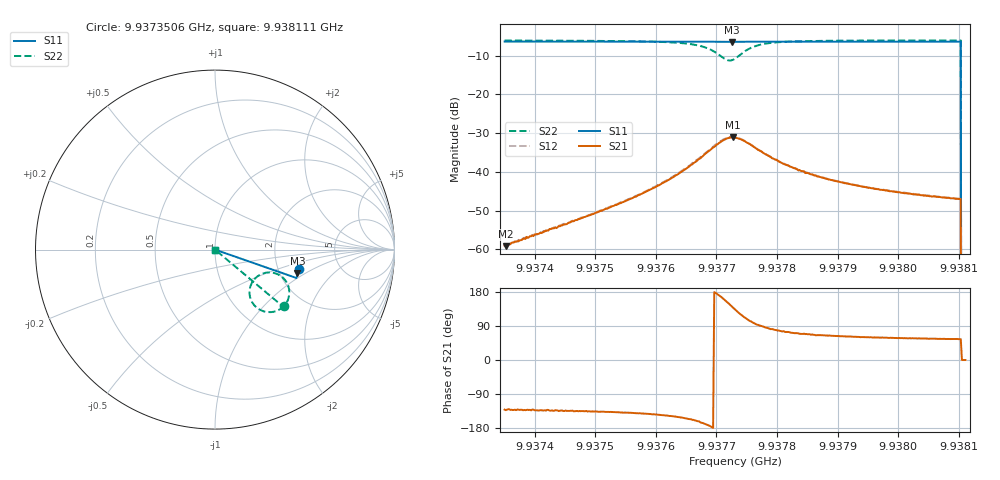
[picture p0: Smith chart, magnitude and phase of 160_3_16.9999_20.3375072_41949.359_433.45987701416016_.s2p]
#  HZ  S  RI  R  50.00
! Rohde & Schwarz Vector Network Analyzer
! Rohde-Schwarz,ZNB20-2Port,1311601062101988,3.16
! Created: UTC 3/20/2024, 10:59:13 PM
! freq[Hz]  re:S11  im:S11  re:S21  im:S21  re:S12  im:S12  re:S22  im:S22
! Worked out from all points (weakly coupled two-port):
!   401 points, 9.9373506 GHz to 9.938111 GHz, reference 50 ohm
!   highest |S21| = -31.09 dB at 9.937727 GHz (marker M1); lowest = -59.2 dB at 9.9373525 GHz (marker M2)
!   lowest |S11| = -6.4 dB at 9.9377251 GHz (marker M3), VSWR 2.83, Z = 124 - j42.9 ohm
!   |S11| at or under -10 dB: 9.9381034 GHz to end of sweep
!   |S22| runs from - to -6.0 dB; largest |S21 - S12| = 0.0012
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9.93735059e9  0.4706 -0.1097  -0.000733 -0.000844  -0.000766 -0.000854  0.3854 -0.3142
9.93735249e9  0.4706 -0.1099  -0.000742 -0.000813  -0.000754 -0.000831  0.3851 -0.3144
9.93747796e9  0.468 -0.1182  -0.00179 -0.00181  -0.00185 -0.00179  0.3698 -0.327
9.93755589e9  0.4661 -0.1237  -0.00334 -0.00289  -0.00344 -0.00287  0.3524 -0.3373
9.93760532e9  0.4648 -0.1271  -0.00548 -0.0039  -0.00566 -0.00393  0.3314 -0.3451
9.93764714e9  0.4634 -0.1299  -0.00949 -0.00478  -0.00978 -0.00473  0.2959 -0.3486
9.93768136e9  0.4618 -0.1323  -0.0168 -0.00327  -0.0171 -0.00314  0.2388 -0.3283
9.93770797e9  0.46 -0.1331  -0.024 0.00575  -0.0244 0.0066  0.1923 -0.2436
9.93771748e9  0.4597 -0.1331  -0.0243 0.012  -0.0241 0.0131  0.2017 -0.1933
9.93772508e9  0.4595 -0.1328  -0.022 0.0171  -0.0218 0.0182  0.2275 -0.157
9.93772698e9  0.4597 -0.1326  -0.021 0.0184  -0.0207 0.0194  0.236 -0.1498
9.93773078e9  0.4598 -0.1328  -0.0189 0.0201  -0.0186 0.0212  0.2551 -0.138
9.93774029e9  0.4603 -0.1329  -0.0133 0.0228  -0.0125 0.0236  0.3052 -0.1271
9.93775359e9  0.4609 -0.1337  -0.00587 0.0225  -0.00537 0.0227  0.3606 -0.1431
9.9377745e9  0.4611 -0.1353  0.000137 0.0184  0.000696 0.0183  0.4014 -0.1865
9.93781062e9  0.4607 -0.1384  0.00305 0.0124  0.00342 0.0125  0.4142 -0.2383
9.93785815e9  0.4597 -0.1418  0.00359 0.00859  0.00371 0.00852  0.4092 -0.2716
9.93791327e9  0.4584 -0.1456  0.00333 0.00632  0.0035 0.0063  0.4014 -0.2911
9.93798551e9  0.4567 -0.1506  0.00297 0.0048  0.00309 0.00487  0.3927 -0.3057
9.93809957e9  0.4536 -0.158  0.00256 0.00366  0.00263 0.00367  0.3824 -0.3194
9.93810907e9  0 0  0 0  0 0  0 0
9.93811097e9  0 0  0 0  0 0  0 0
